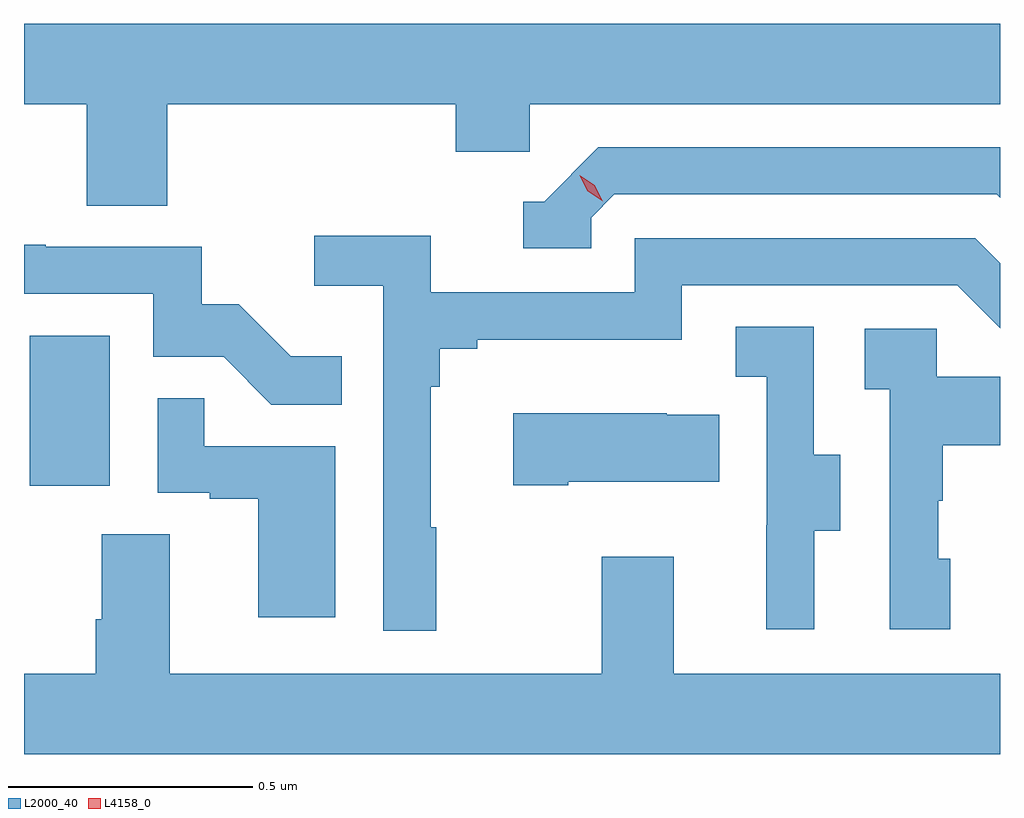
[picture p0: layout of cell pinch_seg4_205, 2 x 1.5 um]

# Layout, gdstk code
import gdstk
lib = gdstk.Library(unit=1e-6, precision=1e-09)
def R(c, l, rs):  # rectangles x0, y0, x1, y1
    for r in rs: c.add(gdstk.rectangle(r[:2], r[2:], *l))
def P(c, l, *ps):  # polygons
    for p in ps: c.add(gdstk.Polygon(p, *l))
L2000_40 = (2000, 40)
L4158_0 = (4158, 0)

pinch_seg4_205 = lib.new_cell('pinch_seg4_205')
R(pinch_seg4_205, L2000_40, [(975.842,814.686,976.006,814.993)])
P(pinch_seg4_205, L2000_40, [(976.124,815.468),(976.715,815.468),(976.715,815.37),(976.866,815.37),(976.866,815.468),(977.83,815.468),(977.83,815.632),(975.83,815.632),(975.83,815.468),(975.959,815.468),(975.959,815.26),(976.124,815.26)],
  [(976.992,815.235),(977.04,815.283),(977.823,815.283),(977.83,815.276),(977.83,815.379),(977.007,815.379),(976.896,815.268),(976.853,815.268),(976.853,815.172),(976.992,815.172)],
  [(976.675,814.601),(976.663,814.601),(976.663,814.889),(976.682,814.889),(976.682,814.966),(976.759,814.966),(976.759,814.985),(977.178,814.985),(977.178,815.097),(977.742,815.097),(977.83,815.009),(977.83,815.142),(977.779,815.193),(977.082,815.193),(977.082,815.082),(976.664,815.082),(976.664,815.198),(976.425,815.198),(976.425,815.096),(976.566,815.096),(976.566,814.389),(976.675,814.389)],
  [(976.481,814.951),(976.377,814.951),(976.27,815.058),(976.194,815.058),(976.194,815.175),(975.875,815.175),(975.875,815.18),(975.83,815.18),(975.83,815.079),(976.095,815.079),(976.095,814.95),(976.239,814.95),(976.337,814.852),(976.481,814.852)],
  [(977.449,814.594),(977.503,814.594),(977.503,814.749),(977.448,814.749),(977.448,815.012),(977.289,815.012),(977.289,814.909),(977.352,814.909),(977.352,814.605),(977.351,814.605),(977.351,814.392),(977.449,814.392)],
  [(977.728,814.536),(977.703,814.536),(977.703,814.655),(977.713,814.655),(977.713,814.769),(977.83,814.769),(977.83,814.909),(977.7,814.909),(977.7,815.007),(977.553,815.007),(977.553,814.883),(977.604,814.883),(977.604,814.392),(977.728,814.392)],
  [(976.468,814.767),(976.199,814.767),(976.199,814.865),(976.104,814.865),(976.104,814.671),(976.211,814.671),(976.211,814.659),(976.31,814.659),(976.31,814.416),(976.468,814.416)],
  [(976.945,814.694),(977.255,814.694),(977.255,814.831),(977.147,814.831),(977.147,814.834),(976.833,814.834),(976.833,814.687),(976.945,814.687)],
  [(977.83,814.3),(977.161,814.3),(977.161,814.54),(977.014,814.54),(977.014,814.3),(976.129,814.3),(976.129,814.586),(975.989,814.586),(975.989,814.412),(975.977,814.412),(975.977,814.3),(975.83,814.3),(975.83,814.136),(977.83,814.136)])
P(pinch_seg4_205, L4158_0, [(977.016,815.269),(976.985,815.289),(976.969,815.321),(976.969,815.322),(976.969,815.322),(977,815.302),(977.016,815.269),(977.016,815.269)])

lib.write_gds('pinch_seg4_205.gds')
